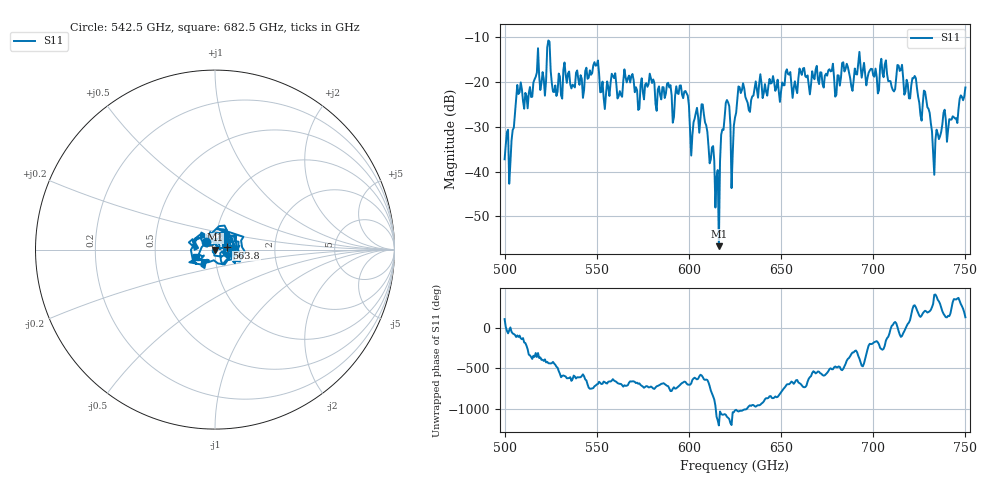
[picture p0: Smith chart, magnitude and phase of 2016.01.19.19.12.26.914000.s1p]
!Created with skrf (http://scikit-rf.org).
# GHz S RI R 50.0
!freq ReS11 ImS11
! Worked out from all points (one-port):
!   401 points, 500 GHz to 750 GHz, reference 50 ohm
!   lowest |S11| = -56.6 dB at 616.2 GHz (marker M1), VSWR 1.00, Z = 49.9 - j0.119 ohm
!   |S11| at or under -10 dB: start of sweep to end of sweep
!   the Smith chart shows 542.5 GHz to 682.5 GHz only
!   S11 on the Smith chart (normalised r, x): 542.5 GHz: 0.90, +0.07; 563.8 GHz: 1.14, +0.03; 682.5 GHz: 0.81, -0.07
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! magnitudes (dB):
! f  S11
! 500 GHz  -37.2
! 503.8 GHz  -33.1
! 508.1 GHz  -22.3
! 523.8 GHz  -10.8
! 526.9 GHz  -22.3
! 531.2 GHz  -23.7
! 542.5 GHz  -23.5
! 549.4 GHz  -16.4
! 553.1 GHz  -19.9
! 562.5 GHz  -22.0
! 563.8 GHz  -23.3
! 593.8 GHz  -22.5
! 601.9 GHz  -31.9
! 608.1 GHz  -27.2
! 615 GHz  -41.2
! 616.2 GHz  -56.6
! 620.6 GHz  -24.0
! 623.1 GHz  -43.7
! 625 GHz  -27.9
! 628.1 GHz  -22.5
! 656.2 GHz  -23.6
! 682.5 GHz  -19.0
! 687.5 GHz  -19.2
! 714.4 GHz  -17.5
! 718.8 GHz  -20.5
! 728.8 GHz  -23.9
! 733.8 GHz  -32.9
! 750 GHz  -21.2
